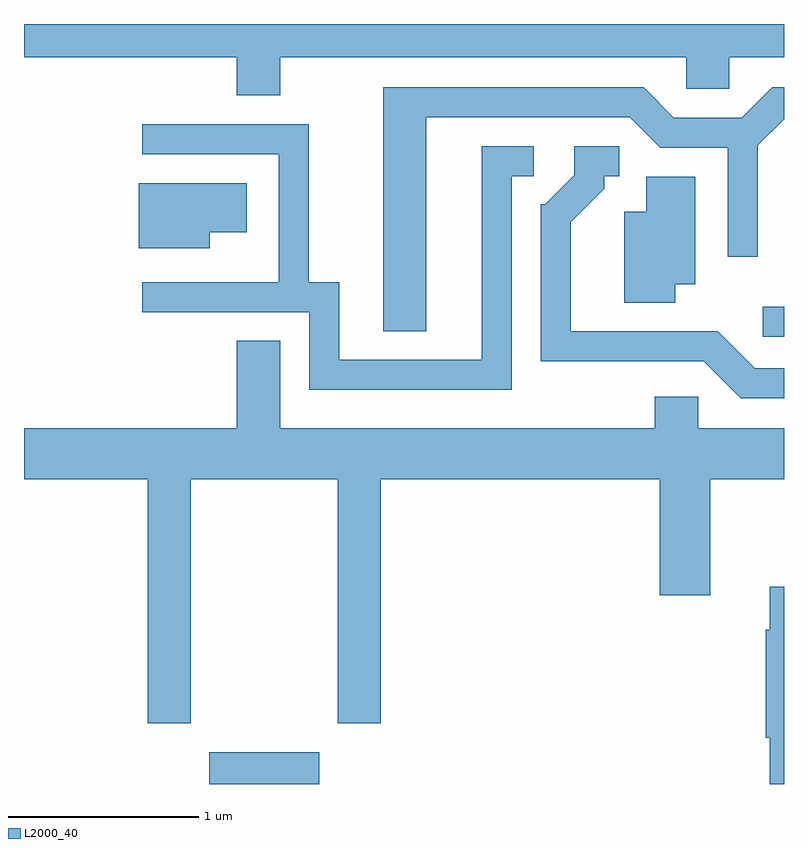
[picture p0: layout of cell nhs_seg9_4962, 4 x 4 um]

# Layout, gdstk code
import gdstk
lib = gdstk.Library(unit=1e-6, precision=1e-09)
def R(c, l, rs):  # rectangles x0, y0, x1, y1
    for r in rs: c.add(gdstk.rectangle(r[:2], r[2:], *l))
def P(c, l, *ps):  # polygons
    for p in ps: c.add(gdstk.Polygon(p, *l))
L2000_40 = (2000, 40)

nhs_seg9_4962 = lib.new_cell('nhs_seg9_4962')
R(nhs_seg9_4962, L2000_40, [(332.586,1992.432,333.164,1992.599), (335.498,1994.786,335.611,1994.944)])
P(nhs_seg9_4962, L2000_40, [(332.959,1996.256),(335.096,1996.256),(335.096,1996.091),(335.324,1996.091),(335.324,1996.256),(335.611,1996.256),(335.611,1996.432),(331.611,1996.432),(331.611,1996.256),(332.731,1996.256),(332.731,1996.056),(332.959,1996.056)],
  [(333.729,1995.941),(334.799,1995.941),(334.959,1995.781),(335.316,1995.781),(335.316,1995.208),(335.474,1995.208),(335.474,1995.794),(335.611,1995.93),(335.611,1996.099),(335.549,1996.099),(335.389,1995.939),(335.032,1995.939),(334.872,1996.099),(333.501,1996.099),(333.501,1994.816),(333.729,1994.816)],
  [(334.179,1995.631),(334.293,1995.631),(334.293,1995.789),(334.021,1995.789),(334.021,1994.664),(333.269,1994.664),(333.269,1995.074),(333.109,1995.074),(333.109,1995.904),(332.233,1995.904),(332.233,1995.746),(332.951,1995.746),(332.951,1995.074),(332.233,1995.074),(332.233,1994.916),(333.111,1994.916),(333.111,1994.506),(334.179,1994.506)],
  [(335.611,1994.619),(335.457,1994.619),(335.262,1994.814),(334.489,1994.814),(334.489,1995.389),(334.664,1995.564),(334.664,1995.631),(334.743,1995.631),(334.743,1995.789),(334.506,1995.789),(334.506,1995.637),(334.354,1995.484),(334.331,1995.484),(334.331,1994.656),(335.189,1994.656),(335.384,1994.461),(335.611,1994.461)],
  [(335.039,1995.061),(335.144,1995.061),(335.144,1995.629),(334.886,1995.629),(334.886,1995.444),(334.771,1995.444),(334.771,1994.966),(335.039,1994.966)],
  [(332.589,1995.336),(332.784,1995.336),(332.784,1995.594),(332.216,1995.594),(332.216,1995.251),(332.589,1995.251)],
  [(333.261,1992.751),(333.489,1992.751),(333.489,1994.036),(334.956,1994.036),(334.956,1993.426),(335.224,1993.426),(335.224,1994.036),(335.611,1994.036),(335.611,1994.304),(335.159,1994.304),(335.159,1994.469),(334.931,1994.469),(334.931,1994.304),(332.959,1994.304),(332.959,1994.764),(332.731,1994.764),(332.731,1994.304),(331.611,1994.304),(331.611,1994.036),(332.261,1994.036),(332.261,1992.751),(332.489,1992.751),(332.489,1994.036),(333.261,1994.036)],
  [(335.611,1993.469),(335.536,1993.469),(335.536,1993.244),(335.516,1993.244),(335.516,1992.676),(335.536,1992.676),(335.536,1992.432),(335.611,1992.432)])

lib.write_gds('nhs_seg9_4962.gds')
